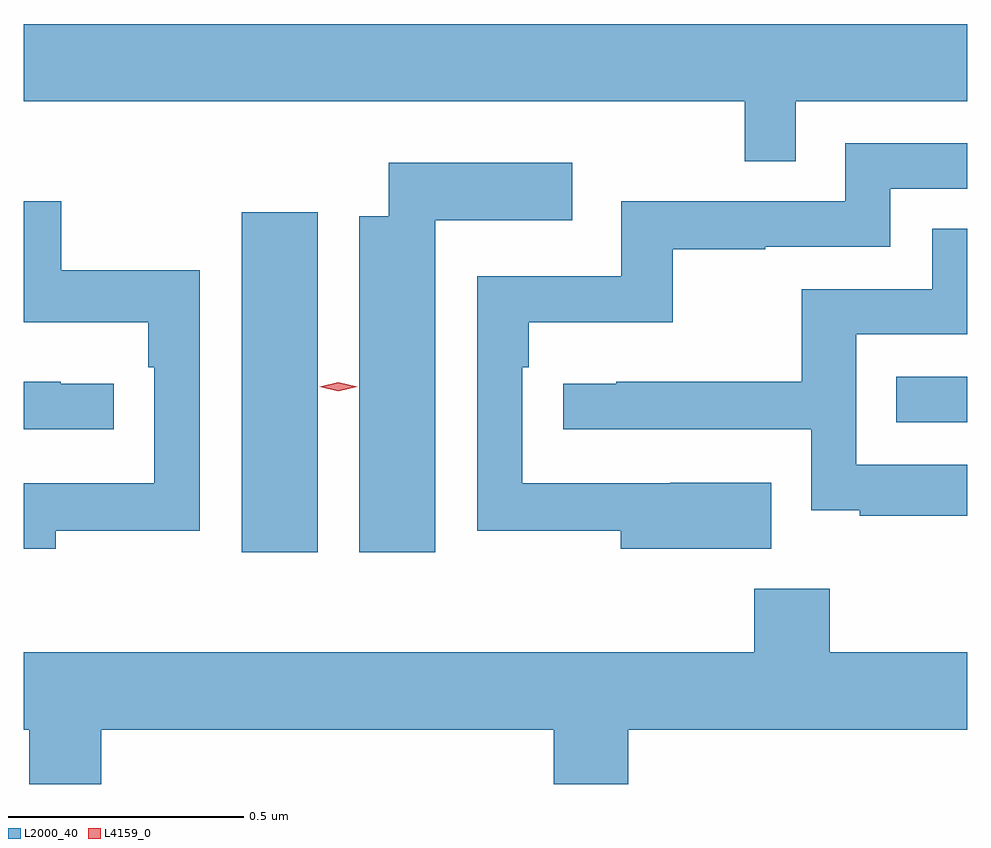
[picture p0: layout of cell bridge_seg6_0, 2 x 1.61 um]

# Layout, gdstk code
import gdstk
lib = gdstk.Library(unit=1e-6, precision=1e-09)
def R(c, l, rs):  # rectangles x0, y0, x1, y1
    for r in rs: c.add(gdstk.rectangle(r[:2], r[2:], *l))
def P(c, l, *ps):  # polygons
    for p in ps: c.add(gdstk.Polygon(p, *l))
L2000_40 = (2000, 40)
L4159_0 = (4159, 0)

bridge_seg6_0 = lib.new_cell('bridge_seg6_0')
R(bridge_seg6_0, L2000_40, [(885.941,918.408,886.102,919.129), (887.329,918.684,887.479,918.78)])
P(bridge_seg6_0, L2000_40, [(887.115,919.364),(887.479,919.364),(887.479,919.528),(885.479,919.528),(885.479,919.364),(887.007,919.364),(887.007,919.237),(887.115,919.237)],
  [(887.063,918.556),(886.849,918.556),(886.849,918.555),(886.536,918.555),(886.536,918.8),(886.55,918.8),(886.55,918.896),(886.855,918.896),(886.855,919.051),(887.051,919.051),(887.051,919.056),(887.316,919.056),(887.316,919.179),(887.479,919.179),(887.479,919.275),(887.22,919.275),(887.22,919.152),(886.746,919.152),(886.746,918.993),(886.44,918.993),(886.44,918.454),(886.745,918.454),(886.745,918.416),(887.063,918.416)],
  [(886.351,919.112),(886.642,919.112),(886.642,919.234),(886.253,919.234),(886.253,919.12),(886.19,919.12),(886.19,918.408),(886.351,918.408)],
  [(885.547,918.454),(885.852,918.454),(885.852,919.006),(885.559,919.006),(885.559,919.152),(885.479,919.152),(885.479,918.896),(885.743,918.896),(885.743,918.8),(885.756,918.8),(885.756,918.555),(885.479,918.555),(885.479,918.416),(885.547,918.416)],
  [(887.479,918.594),(887.244,918.594),(887.244,918.87),(887.479,918.87),(887.479,919.094),(887.405,919.094),(887.405,918.966),(887.128,918.966),(887.128,918.77),(886.735,918.77),(886.735,918.765),(886.623,918.765),(886.623,918.669),(887.148,918.669),(887.148,918.497),(887.251,918.497),(887.251,918.486),(887.479,918.486)],
  [(885.67,918.765),(885.557,918.765),(885.557,918.77),(885.479,918.77),(885.479,918.669),(885.67,918.669)],
  [(885.643,918.032),(886.603,918.032),(886.603,917.917),(886.76,917.917),(886.76,918.032),(887.479,918.032),(887.479,918.196),(887.187,918.196),(887.187,918.331),(887.027,918.331),(887.027,918.196),(885.479,918.196),(885.479,918.032),(885.491,918.032),(885.491,917.917),(885.643,917.917)])
P(bridge_seg6_0, L4159_0, [(886.146,918.749),(886.106,918.759),(886.106,918.759),(886.106,918.759),(886.146,918.769),(886.186,918.759),(886.186,918.759),(886.186,918.759)])

lib.write_gds('bridge_seg6_0.gds')
